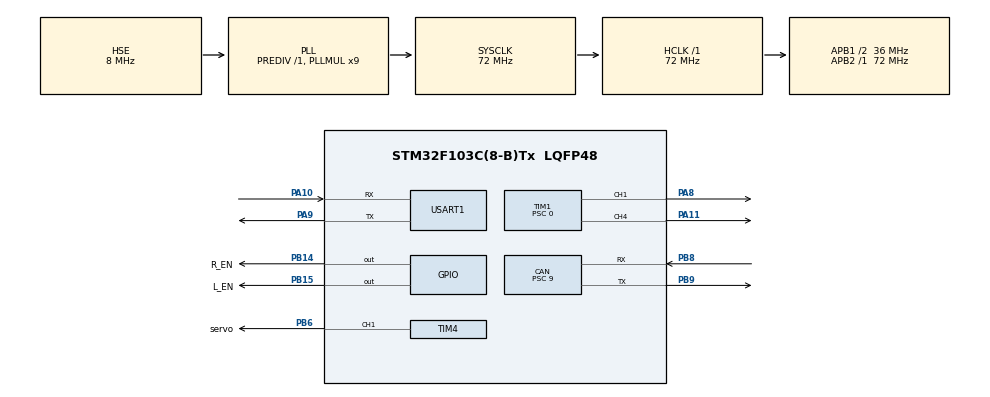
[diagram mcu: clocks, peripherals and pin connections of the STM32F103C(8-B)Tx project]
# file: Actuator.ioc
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CAN.BS1=CAN_BS1_3TQ
CAN.BS2=CAN_BS2_4TQ
CAN.CalculateBaudRate=500000
CAN.CalculateTimeBit=2000
CAN.CalculateTimeQuantum=250.0
CAN.Prescaler=9
Mcu.Family=STM32F1
Mcu.Name=STM32F103C(8-B)Tx
Mcu.Package=LQFP48
NVIC.PriorityGroup=NVIC_PRIORITYGROUP_4
NVIC.TIM2_IRQn=true\:0\:0\:false\:false\:true\:true\:true\:true
NVIC.USB_LP_CAN1_RX0_IRQn=true\:0\:0\:false\:false\:true\:true\:true\:true
PA10.Mode=Asynchronous
PA10.Signal=USART1_RX
PA11.Signal=S_TIM1_CH4
PA8.Signal=S_TIM1_CH1
PA9.Mode=Asynchronous
PA9.Signal=USART1_TX
PB14.GPIO_Label=R_EN
PB14.Signal=GPIO_Output
PB15.GPIO_Label=L_EN
PB15.Signal=GPIO_Output
PB6.GPIO_Label=servo
PB6.Signal=S_TIM4_CH1
PB8.Mode=CAN_Activate
PB8.Signal=CAN_RX
PB9.Mode=CAN_Activate
PB9.Signal=CAN_TX
PD0-OSC_IN.Mode=HSE-External-Oscillator
PD0-OSC_IN.Signal=RCC_OSC_IN
PD1-OSC_OUT.Mode=HSE-External-Oscillator
PD1-OSC_OUT.Signal=RCC_OSC_OUT
ProjectManager.HeapSize=0x200
ProjectManager.StackSize=0x400
ProjectManager.TargetToolchain=STM32CubeIDE
RCC.AHBFreq_Value=72000000
RCC.APB1CLKDivider=RCC_HCLK_DIV2
RCC.APB1Freq_Value=36000000
RCC.APB1TimFreq_Value=72000000
RCC.APB2Freq_Value=72000000
RCC.APB2TimFreq_Value=72000000
RCC.HCLKFreq_Value=72000000
RCC.PLLMUL=RCC_PLL_MUL9
RCC.PLLSourceVirtual=RCC_PLLSOURCE_HSE
RCC.SYSCLKFreq_VALUE=72000000
RCC.SYSCLKSource=RCC_SYSCLKSOURCE_PLLCLK
RCC.USBFreq_Value=72000000
SH.S_TIM1_CH1.0=TIM1_CH1,PWM Generation1 CH1
SH.S_TIM1_CH4.0=TIM1_CH4,PWM Generation4 CH4
SH.S_TIM4_CH1.0=TIM4_CH1,PWM Generation1 CH1
TIM1.Channel-PWM\ Generation1\ CH1=TIM_CHANNEL_1
TIM1.Channel-PWM\ Generation4\ CH4=TIM_CHANNEL_4
TIM1.Period=7199
TIM1.Prescaler=0
TIM2.Period=29999
TIM2.Prescaler=7199
TIM4.Channel-PWM\ Generation1\ CH1=TIM_CHANNEL_1
TIM4.Period=9999
TIM4.Prescaler=143
USART1.VirtualMode=VM_ASYNC
VP_SYS_VS_ND.Mode=No_Debug
VP_TIM1_VS_ClockSourceINT.Mode=Internal
VP_TIM2_VS_ClockSourceINT.Mode=Internal
VP_TIM4_VS_ClockSourceINT.Mode=Internal
board=custom

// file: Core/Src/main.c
/* USER CODE BEGIN Header */
/**
 ******************************************************************************
 * @file           : main.c
 * @brief          : Main program body
 ******************************************************************************
 * @attention
 *
 * Copyright (c) 2024 STMicroelectronics.
 * All rights reserved.
 *
 * This software is licensed under terms that can be found in the LICENSE file
 * in the root directory of this software component.
 * If no LICENSE file comes with this software, it is provided AS-IS.
 *
 ******************************************************************************
 */
/* USER CODE END Header */
#include "main.h"

/* USER CODE BEGIN Includes */
#include <stdio.h>
#include <string.h>
#include <time.h>
#include <sys/time.h>
/* USER CODE END Includes */

/* USER CODE BEGIN PD */
#define ANGLE_NORMAL 90
#define ANGLE_LEFT 50
#define ANGLE_RIGHT 130
// THRESHOLD is 500 mm
#define THRESHOLD 500

typedef enum {
	STRAIGHT = 0,
	TURN_LEFT,
	TURN_RIGHT,
} Mode;
/* USER CODE END PD */

CAN_HandleTypeDef hcan;

TIM_HandleTypeDef htim1;
TIM_HandleTypeDef htim2;
TIM_HandleTypeDef htim4;

UART_HandleTypeDef huart1;

/* USER CODE BEGIN PV */
CAN_RxHeaderTypeDef RxHeader;
uint8_t RxData[5];
uint8_t receive_check = 0;

Mode mode = STRAIGHT;
/* USER CODE END PV */

void SystemClock_Config(void);
static void MX_GPIO_Init(void);
static void MX_TIM4_Init(void);
static void MX_USART1_UART_Init(void);
static void MX_CAN_Init(void);
static void MX_TIM1_Init(void);
static void MX_TIM2_Init(void);

/* USER CODE BEGIN 0 */
static void setAngle(uint8_t Angle);
static void setPWMChannelDutyCycle(TIM_HandleTypeDef *htim, uint32_t channel, float duty_cycle);
static void decodeNumber(uint16_t *distance1, uint8_t index);
static uint8_t crc8(uint8_t *data, uint8_t length);
static void controlMode();

void HAL_CAN_RxFifo0MsgPendingCallback(CAN_HandleTypeDef *hcan);
void HAL_TIM_PeriodElapsedCallback(TIM_HandleTypeDef *htim);
/* USER CODE END 0 */

int main(void)
{

  /* MCU Configuration--------------------------------------------------------*/

  /* Reset of all peripherals, Initializes the Flash interface and the Systick. */
  HAL_Init();

  /* Configure the system clock */
  SystemClock_Config();

  /* Initialize all configured peripherals */
  MX_GPIO_Init();
  MX_TIM4_Init();
  MX_USART1_UART_Init();
  MX_CAN_Init();
  MX_TIM1_Init();
  MX_TIM2_Init();
  /* USER CODE BEGIN 2 */
  //Initialize local variable
  uint16_t Distance_Left, Distance_Right;
  // init peripheral
  HAL_CAN_Start(&hcan);

  HAL_TIM_PWM_Start(&htim1, TIM_CHANNEL_1);
  HAL_TIM_PWM_Start(&htim1, TIM_CHANNEL_4);

  HAL_TIM_PWM_Start(&htim4, TIM_CHANNEL_1);
  // configure car go forward
  HAL_GPIO_WritePin(L_EN_GPIO_Port, L_EN_Pin, SET);
  setPWMChannelDutyCycle(&htim1, TIM_CHANNEL_4, 20);
  // enable interrupt receive
  HAL_CAN_ActivateNotification(&hcan,
  CAN_IT_RX_FIFO0_MSG_PENDING);
  /* USER CODE END 2 */

  /* Infinite loop */
	while (1) {

    /* USER CODE BEGIN 3 */
		// if having received message and message right
		if (receive_check == 1 && crc8(RxData, 4) == RxData[4]) {
			receive_check = 0;
			decodeNumber(&Distance_Left, 0);
			decodeNumber(&Distance_Right, 2);
		} else continue

		if (Distance_Left < Distance_Right && Distance_Left <= THRESHOLD) {
			// turn right and begin counter
			__HAL_TIM_SET_COUNTER(&htim2, 0);
			HAL_TIM_Base_Start_IT(&htim2);
			mode = TURN_RIGHT;
		}
		else if (Distance_Right < Distance_Left && Distance_Right <= THRESHOLD) {
			// turn left and begin counter
			__HAL_TIM_SET_COUNTER(&htim2, 0);
			HAL_TIM_Base_Start_IT(&htim2);
			mode = TURN_LEFT;
		}
		controlMode();
	}
  /* USER CODE END 3 */
}

void SystemClock_Config(void)
{
  RCC_OscInitTypeDef RCC_OscInitStruct = {0};
  RCC_ClkInitTypeDef RCC_ClkInitStruct = {0};

  /** Initializes the RCC Oscillators according to the specified parameters
  * in the RCC_OscInitTypeDef structure.
  */
  RCC_OscInitStruct.OscillatorType = RCC_OSCILLATORTYPE_HSE;
  RCC_OscInitStruct.HSEState = RCC_HSE_ON;
  RCC_OscInitStruct.HSEPredivValue = RCC_HSE_PREDIV_DIV1;
  RCC_OscInitStruct.HSIState = RCC_HSI_ON;
  RCC_OscInitStruct.PLL.PLLState = RCC_PLL_ON;
  RCC_OscInitStruct.PLL.PLLSource = RCC_PLLSOURCE_HSE;
  RCC_OscInitStruct.PLL.PLLMUL = RCC_PLL_MUL9;
  if (HAL_RCC_OscConfig(&RCC_OscInitStruct) != HAL_OK)
  {
    Error_Handler();
  }

  /** Initializes the CPU, AHB and APB buses clocks
  */
  RCC_ClkInitStruct.ClockType = RCC_CLOCKTYPE_HCLK|RCC_CLOCKTYPE_SYSCLK
                              |RCC_CLOCKTYPE_PCLK1|RCC_CLOCKTYPE_PCLK2;
  RCC_ClkInitStruct.SYSCLKSource = RCC_SYSCLKSOURCE_PLLCLK;
  RCC_ClkInitStruct.AHBCLKDivider = RCC_SYSCLK_DIV1;
  RCC_ClkInitStruct.APB1CLKDivider = RCC_HCLK_DIV2;
  RCC_ClkInitStruct.APB2CLKDivider = RCC_HCLK_DIV1;

  if (HAL_RCC_ClockConfig(&RCC_ClkInitStruct, FLASH_LATENCY_2) != HAL_OK)
  {
    Error_Handler();
  }
}

static void MX_CAN_Init(void)
{

  hcan.Instance = CAN1;
  hcan.Init.Prescaler = 9;
  hcan.Init.Mode = CAN_MODE_NORMAL;
  hcan.Init.SyncJumpWidth = CAN_SJW_1TQ;
  hcan.Init.TimeSeg1 = CAN_BS1_3TQ;
  hcan.Init.TimeSeg2 = CAN_BS2_4TQ;
  hcan.Init.TimeTriggeredMode = DISABLE;
  hcan.Init.AutoBusOff = DISABLE;
  hcan.Init.AutoWakeUp = DISABLE;
  hcan.Init.AutoRetransmission = DISABLE;
  hcan.Init.ReceiveFifoLocked = DISABLE;
  hcan.Init.TransmitFifoPriority = DISABLE;
  if (HAL_CAN_Init(&hcan) != HAL_OK)
  {
    Error_Handler();
  }
  /* USER CODE BEGIN CAN_Init 2 */
	CAN_FilterTypeDef canfilterconfig;

	canfilterconfig.FilterActivation = CAN_FILTER_ENABLE;
	canfilterconfig.FilterBank = 0;
	canfilterconfig.FilterFIFOAssignment = CAN_FILTER_FIFO0;
	canfilterconfig.FilterIdHigh = 0x012 << 5;
	canfilterconfig.FilterIdLow = 0x0000;
	canfilterconfig.FilterMaskIdHigh = 0x012 << 5;
	canfilterconfig.FilterMaskIdLow = 0x0000;
	canfilterconfig.FilterMode = CAN_FILTERMODE_IDMASK;
	canfilterconfig.FilterScale = CAN_FILTERSCALE_32BIT;

	HAL_CAN_ConfigFilter(&hcan, &canfilterconfig);
  /* USER CODE END CAN_Init 2 */

}

static void MX_TIM1_Init(void)
{

  TIM_ClockConfigTypeDef sClockSourceConfig = {0};
  TIM_MasterConfigTypeDef sMasterConfig = {0};
  TIM_OC_InitTypeDef sConfigOC = {0};
  TIM_BreakDeadTimeConfigTypeDef sBreakDeadTimeConfig = {0};

  htim1.Instance = TIM1;
  htim1.Init.Prescaler = 0;
  htim1.Init.CounterMode = TIM_COUNTERMODE_UP;
  htim1.Init.Period = 7199;
  htim1.Init.ClockDivision = TIM_CLOCKDIVISION_DIV1;
  htim1.Init.RepetitionCounter = 0;
  htim1.Init.AutoReloadPreload = TIM_AUTORELOAD_PRELOAD_DISABLE;
  if (HAL_TIM_Base_Init(&htim1) != HAL_OK)
  {
    Error_Handler();
  }
  sClockSourceConfig.ClockSource = TIM_CLOCKSOURCE_INTERNAL;
  if (HAL_TIM_ConfigClockSource(&htim1, &sClockSourceConfig) != HAL_OK)
  {
    Error_Handler();
  }
  if (HAL_TIM_PWM_Init(&htim1) != HAL_OK)
  {
    Error_Handler();
  }
  sMasterConfig.MasterOutputTrigger = TIM_TRGO_RESET;
  sMasterConfig.MasterSlaveMode = TIM_MASTERSLAVEMODE_DISABLE;
  if (HAL_TIMEx_MasterConfigSynchronization(&htim1, &sMasterConfig) != HAL_OK)
  {
    Error_Handler();
  }
  sConfigOC.OCMode = TIM_OCMODE_PWM1;
  sConfigOC.Pulse = 0;
  sConfigOC.OCPolarity = TIM_OCPOLARITY_HIGH;
  sConfigOC.OCNPolarity = TIM_OCNPOLARITY_HIGH;
  sConfigOC.OCFastMode = TIM_OCFAST_DISABLE;
  sConfigOC.OCIdleState = TIM_OCIDLESTATE_RESET;
  sConfigOC.OCNIdleState = TIM_OCNIDLESTATE_RESET;
  if (HAL_TIM_PWM_ConfigChannel(&htim1, &sConfigOC, TIM_CHANNEL_1) != HAL_OK)
  {
    Error_Handler();
  }
  if (HAL_TIM_PWM_ConfigChannel(&htim1, &sConfigOC, TIM_CHANNEL_4) != HAL_OK)
  {
    Error_Handler();
  }
  sBreakDeadTimeConfig.OffStateRunMode = TIM_OSSR_DISABLE;
  sBreakDeadTimeConfig.OffStateIDLEMode = TIM_OSSI_DISABLE;
  sBreakDeadTimeConfig.LockLevel = TIM_LOCKLEVEL_OFF;
  sBreakDeadTimeConfig.DeadTime = 0;
  sBreakDeadTimeConfig.BreakState = TIM_BREAK_DISABLE;
  sBreakDeadTimeConfig.BreakPolarity = TIM_BREAKPOLARITY_HIGH;
  sBreakDeadTimeConfig.AutomaticOutput = TIM_AUTOMATICOUTPUT_DISABLE;
  if (HAL_TIMEx_ConfigBreakDeadTime(&htim1, &sBreakDeadTimeConfig) != HAL_OK)
  {
    Error_Handler();
  }
  HAL_TIM_MspPostInit(&htim1);

}

static void MX_TIM2_Init(void)
{

  TIM_ClockConfigTypeDef sClockSourceConfig = {0};
  TIM_MasterConfigTypeDef sMasterConfig = {0};

  htim2.Instance = TIM2;
  htim2.Init.Prescaler = 7199;
  htim2.Init.CounterMode = TIM_COUNTERMODE_UP;
  htim2.Init.Period = 29999;
  htim2.Init.ClockDivision = TIM_CLOCKDIVISION_DIV1;
  htim2.Init.AutoReloadPreload = TIM_AUTORELOAD_PRELOAD_DISABLE;
  if (HAL_TIM_Base_Init(&htim2) != HAL_OK)
  {
    Error_Handler();
  }
  sClockSourceConfig.ClockSource = TIM_CLOCKSOURCE_INTERNAL;
  if (HAL_TIM_ConfigClockSource(&htim2, &sClockSourceConfig) != HAL_OK)
  {
    Error_Handler();
  }
  sMasterConfig.MasterOutputTrigger = TIM_TRGO_RESET;
  sMasterConfig.MasterSlaveMode = TIM_MASTERSLAVEMODE_DISABLE;
  if (HAL_TIMEx_MasterConfigSynchronization(&htim2, &sMasterConfig) != HAL_OK)
  {
    Error_Handler();
  }

}

static void MX_TIM4_Init(void)
{

  TIM_ClockConfigTypeDef sClockSourceConfig = {0};
  TIM_MasterConfigTypeDef sMasterConfig = {0};
  TIM_OC_InitTypeDef sConfigOC = {0};

  htim4.Instance = TIM4;
  htim4.Init.Prescaler = 143;
  htim4.Init.CounterMode = TIM_COUNTERMODE_UP;
  htim4.Init.Period = 9999;
  htim4.Init.ClockDivision = TIM_CLOCKDIVISION_DIV1;
  htim4.Init.AutoReloadPreload = TIM_AUTORELOAD_PRELOAD_DISABLE;
  if (HAL_TIM_Base_Init(&htim4) != HAL_OK)
  {
    Error_Handler();
  }
  sClockSourceConfig.ClockSource = TIM_CLOCKSOURCE_INTERNAL;
  if (HAL_TIM_ConfigClockSource(&htim4, &sClockSourceConfig) != HAL_OK)
  {
    Error_Handler();
  }
  if (HAL_TIM_PWM_Init(&htim4) != HAL_OK)
  {
    Error_Handler();
  }
  sMasterConfig.MasterOutputTrigger = TIM_TRGO_RESET;
  sMasterConfig.MasterSlaveMode = TIM_MASTERSLAVEMODE_DISABLE;
  if (HAL_TIMEx_MasterConfigSynchronization(&htim4, &sMasterConfig) != HAL_OK)
  {
    Error_Handler();
  }
  sConfigOC.OCMode = TIM_OCMODE_PWM1;
  sConfigOC.Pulse = 0;
  sConfigOC.OCPolarity = TIM_OCPOLARITY_HIGH;
  sConfigOC.OCFastMode = TIM_OCFAST_DISABLE;
  if (HAL_TIM_PWM_ConfigChannel(&htim4, &sConfigOC, TIM_CHANNEL_1) != HAL_OK)
  {
    Error_Handler();
  }
  HAL_TIM_MspPostInit(&htim4);

}

static void MX_USART1_UART_Init(void)
{

  huart1.Instance = USART1;
  huart1.Init.BaudRate = 115200;
  huart1.Init.WordLength = UART_WORDLENGTH_8B;
  huart1.Init.StopBits = UART_STOPBITS_1;
  huart1.Init.Parity = UART_PARITY_NONE;
  huart1.Init.Mode = UART_MODE_TX_RX;
  huart1.Init.HwFlowCtl = UART_HWCONTROL_NONE;
  huart1.Init.OverSampling = UART_OVERSAMPLING_16;
  if (HAL_UART_Init(&huart1) != HAL_OK)
  {
    Error_Handler();
  }

}

static void MX_GPIO_Init(void)
{
  GPIO_InitTypeDef GPIO_InitStruct = {0};

  /* GPIO Ports Clock Enable */
  __HAL_RCC_GPIOD_CLK_ENABLE();
  __HAL_RCC_GPIOB_CLK_ENABLE();
  __HAL_RCC_GPIOA_CLK_ENABLE();

  /*Configure GPIO pin Output Level */
  HAL_GPIO_WritePin(GPIOB, R_EN_Pin|L_EN_Pin, GPIO_PIN_RESET);

  /*Configure GPIO pins : R_EN_Pin L_EN_Pin */
  GPIO_InitStruct.Pin = R_EN_Pin|L_EN_Pin;
  GPIO_InitStruct.Mode = GPIO_MODE_OUTPUT_PP;
  GPIO_InitStruct.Pull = GPIO_NOPULL;
  GPIO_InitStruct.Speed = GPIO_SPEED_FREQ_LOW;
  HAL_GPIO_Init(GPIOB, &GPIO_InitStruct);

}

/* USER CODE BEGIN 4 */
static void setAngle(uint8_t Angle) {
	uint32_t newCCR = 50 * Angle / 9 + 250;
	htim4.Instance->CCR1 = newCCR;
}

static void setPWMChannelDutyCycle(TIM_HandleTypeDef *htim, uint32_t channel, float duty_cycle)
{
	float load = (duty_cycle / 100) * htim->Instance->ARR;
	__HAL_TIM_SET_COMPARE(htim, channel, (uint16_t)load);
}

static void decodeNumber(uint16_t *number, uint8_t index) {
	*number = (RxData[index+1] << 8) | RxData[index];
}

static uint8_t crc8(uint8_t *data, uint8_t length) {
	uint8_t crc = 0;
	uint8_t polynomial = 0x8C;  // CRC-8 SAE J1850 polynomial

	for (uint8_t i = 0; i < length; i++) {
		crc ^= data[i];
		for (uint8_t j = 8; j; j--) {
			if (crc & 0x80) crc = (crc << 1) ^ polynomial;
			else crc <<= 1;
		}
	}
	return crc;
}

static void controlMode(){
	switch (mode) {
		case STRAIGHT:
			setAngle(ANGLE_NORMAL);
			setPWMChannelDutyCycle(&htim1, TIM_CHANNEL_4, 20);
			break;
		case TURN_LEFT:
			setAngle(ANGLE_RIGHT);
			setPWMChannelDutyCycle(&htim1, TIM_CHANNEL_4, 24);
			break;
		case TURN_RIGHT:
			setAngle(ANGLE_LEFT);
			setPWMChannelDutyCycle(&htim1, TIM_CHANNEL_4, 24);
			break;
	}
}

// Interrupt Function
void HAL_CAN_RxFifo0MsgPendingCallback(CAN_HandleTypeDef *hcan) {
	HAL_CAN_GetRxMessage(hcan, CAN_RX_FIFO0, &RxHeader, RxData);
	if (RxHeader.StdId == 0x012) {
		receive_check = 1;
	}
}

void HAL_TIM_PeriodElapsedCallback(TIM_HandleTypeDef *htim){
	if(htim->Instance == TIM2){
		// after 3s, car go straight
		mode = STRAIGHT;
		HAL_TIM_Base_Stop_IT(&htim2);
	}
}
/* USER CODE END 4 */

void Error_Handler(void)
{
	__disable_irq();
	while (1) {
	}
}
